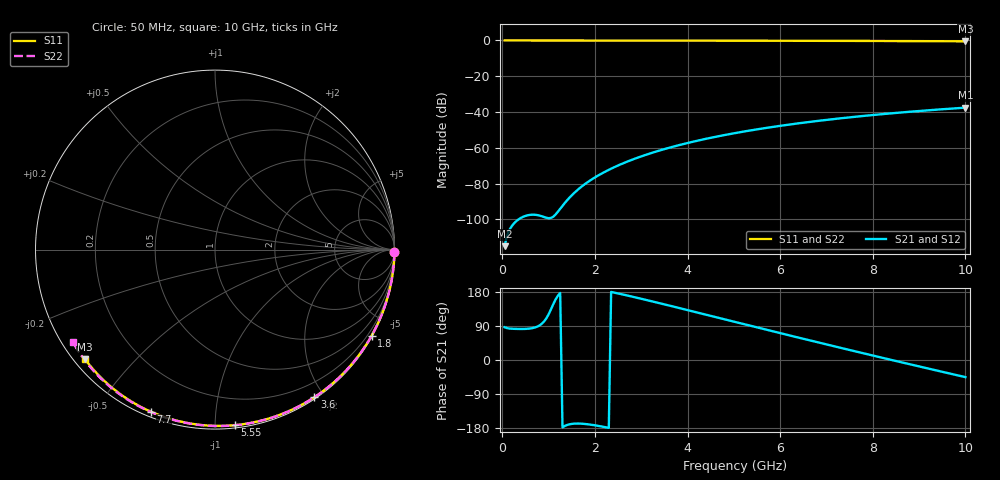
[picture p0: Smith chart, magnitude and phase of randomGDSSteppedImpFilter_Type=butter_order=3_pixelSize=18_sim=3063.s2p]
! freq	dB(S11)	phase(S11)	dB(S12)	phase(S12)
!  dB(S21)	phase(S21)	dB(S22)	phase(S22)
!S-par simulation data
#  GHz  S  DB  R 50
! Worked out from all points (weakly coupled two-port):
!   200 points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, 50 MHz to 10 GHz, reference 50 ohm
!   highest |S21| = -37.54 dB at 10 GHz (marker M1); lowest = -114.9 dB at 50 MHz (marker M2)
!   lowest |S11| = -0.5 dB at 10 GHz (marker M3), VSWR 36.83, Z = 1.54 - j18.2 ohm
!   |S11| at or under -10 dB: nowhere
!   |S22| runs from -0.5 to 0.0 dB; largest |S21 - S12| = 0
!   S11 on the Smith chart (normalised r, x): 50 MHz: open; 1.8 GHz: 0.03, -3.90; 3.6 GHz: 0.02, -1.88; 5.55 GHz: 0.02, -1.12; 7.7 GHz: 0.02, -0.68; 10 GHz: 0.03, -0.36
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0.05  -0.00 -0.8  -114.94 86.5  -114.94 86.5  -0.00 -0.9
0.45  -0.01 -7.3  -98.52 81.8  -98.52 81.8  -0.01 -7.7
0.9  -0.02 -14.5  -98.64 101.4  -98.64 101.4  -0.02 -15.3
1.3  -0.03 -20.9  -92.38 -177.7  -92.38 -177.7  -0.03 -22.0
1.75  -0.04 -27.9  -80.90 -168.4  -80.90 -168.4  -0.04 -29.4
1.8  -0.04 -28.7  -79.94 -169.0  -79.94 -169.0  -0.04 -30.3
1.95  -0.04 -31.1  -77.33 -171.4  -77.33 -171.4  -0.04 -32.7
2.1  -0.04 -33.4  -75.02 -174.4  -75.02 -174.4  -0.04 -35.2
2.3  -0.05 -36.5  -72.28 -179.1  -72.28 -179.1  -0.05 -38.4
2.5  -0.05 -39.6  -69.85 175.7  -69.85 175.7  -0.05 -41.7
2.9  -0.06 -45.7  -65.70 164.5  -65.70 164.5  -0.06 -48.1
3.4  -0.07 -53.1  -61.45 149.8  -61.45 149.8  -0.07 -55.9
3.6  -0.08 -56.1  -59.97 143.8  -59.97 143.8  -0.08 -59.0
4.3  -0.09 -66.3  -55.50 122.6  -55.50 122.6  -0.10 -69.7
5.05  -0.12 -76.8  -51.64 99.7  -51.64 99.7  -0.12 -80.7
5.55  -0.14 -83.7  -49.46 84.6  -49.46 84.6  -0.14 -87.9
6.1  -0.16 -91.0  -47.34 68.0  -47.34 68.0  -0.17 -95.6
6.7  -0.19 -98.9  -45.30 50.0  -45.30 50.0  -0.20 -103.8
7.7  -0.26 -111.6  -42.42 20.5  -42.42 20.5  -0.27 -117.1
8.35  -0.31 -119.7  -40.83 1.7  -40.83 1.7  -0.32 -125.6
9.2  -0.38 -130.2  -39.01 -22.6  -39.01 -22.6  -0.40 -136.6
10  -0.47 -140.0  -37.54 -45.2  -37.54 -45.2  -0.49 -147.0
